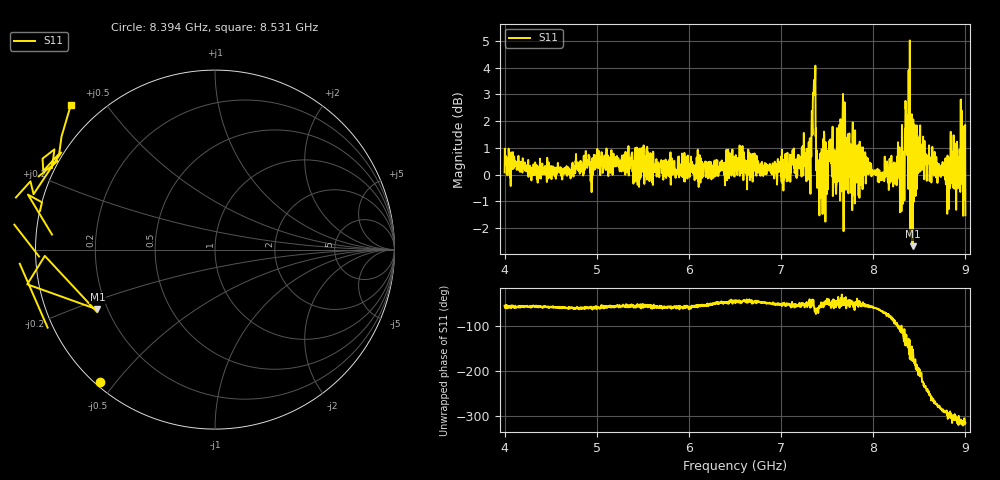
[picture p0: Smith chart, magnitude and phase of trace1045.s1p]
! Created with skrf 1.8.0 (http://scikit-rf.org).
# Hz S RI R 50.0
!freq ReS11 ImS11
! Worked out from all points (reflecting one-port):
!   1601 points, 4 GHz to 9 GHz, reference 50 ohm
!   lowest |S11| = -2.7 dB at 8.431 GHz (marker M1), VSWR 6.54, Z = 8.07 - j11.7 ohm
!   phase of S11 starts at -56 deg and turns -260 deg over the sweep
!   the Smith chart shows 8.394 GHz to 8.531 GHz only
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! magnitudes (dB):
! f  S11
! 4 GHz  0.1
! 4.625 GHz  -0.2
! 5.25 GHz  0.1
! 5.875 GHz  0.1
! 6.5 GHz  0.3
! 7.038 GHz  0.3
! 7.125 GHz  0.9
! 7.294 GHz  0.3
! 7.353 GHz  3.0
! 7.409 GHz  -0.5
! 7.497 GHz  -0.7
! 7.534 GHz  1.3
! 7.588 GHz  -0.1
! 7.669 GHz  2.4
! 7.703 GHz  -0.6
! 7.75 GHz  0.0
! 8.075 GHz  0.1
! 8.262 GHz  -0.2
! 8.316 GHz  0.6
! 8.334 GHz  -0.5
! 8.375 GHz  2.1
! 8.412 GHz  0.8
! 8.431 GHz  -2.7
! 8.519 GHz  0.7
! 8.806 GHz  0.7
! 8.953 GHz  -0.3
! 8.972 GHz  1.1
! 9 GHz  -1.5
